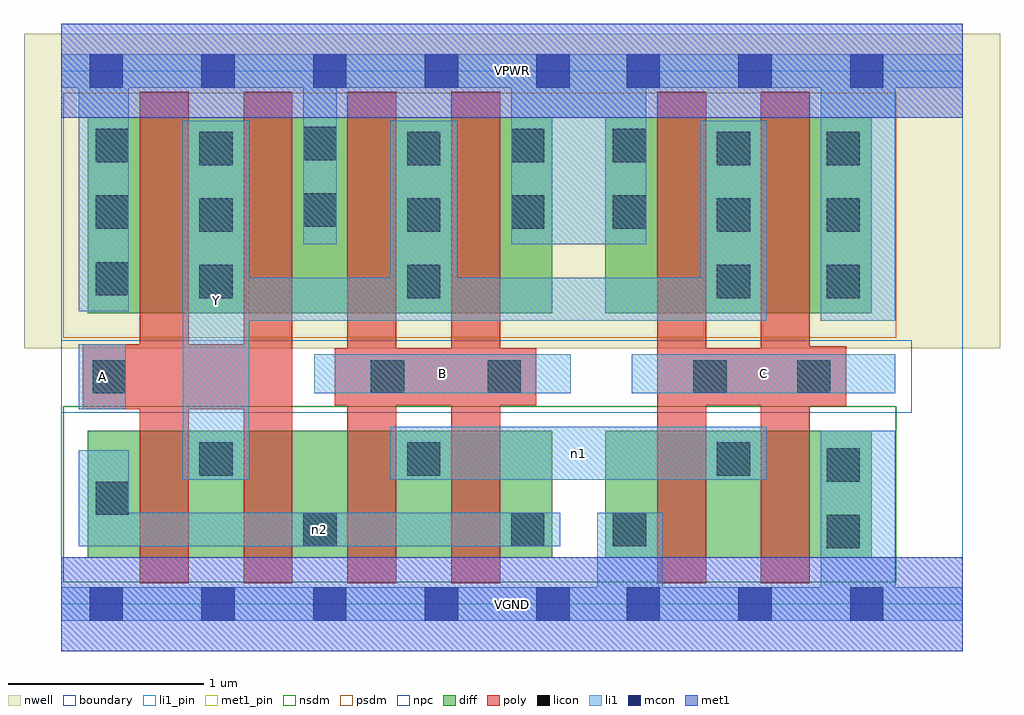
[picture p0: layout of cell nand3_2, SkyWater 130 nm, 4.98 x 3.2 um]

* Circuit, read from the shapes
.subckt nand3_2 A B C VGND VPWR Y n1 n2
XM1 Y A n2 VSUBS sky130_fd_pr__nfet_01v8 w=0.65 l=0.25 m=2
XM2 n1 B n2 VSUBS sky130_fd_pr__nfet_01v8 w=0.65 l=0.25 m=2
XM3 n1 C VGND VSUBS sky130_fd_pr__nfet_01v8 w=0.65 l=0.25 m=2
XM4 Y A VPWR n3 sky130_fd_pr__pfet_01v8 w=1 l=0.25 m=2
XM5 Y B VPWR n3 sky130_fd_pr__pfet_01v8 w=1 l=0.25 m=2
XM6 Y C VPWR n3 sky130_fd_pr__pfet_01v8 w=1 l=0.25 m=2
.ends

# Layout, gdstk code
import gdstk
lib = gdstk.Library(unit=1e-6, precision=1e-09)
def R(c, l, rs):  # rectangles x0, y0, x1, y1
    for r in rs: c.add(gdstk.rectangle(r[:2], r[2:], *l))
def A(c, l, x, y, w, h, nx, ny, dx, dy):  # array of equal rectangles
    R(c, l, [(x+i*dx, y+j*dy, x+i*dx+w, y+j*dy+h) for i in range(nx) for j in range(ny)])
nwell = (64, 20)
diff = (65, 20)
poly = (66, 20)
licon = (66, 44)
li1_pin = (67, 16)
li1 = (67, 20)
mcon = (67, 44)
met1_pin = (68, 16)
met1 = (68, 20)
nsdm = (93, 44)
psdm = (94, 20)
npc = (95, 20)
boundary = (235, 4)

nand3_2 = lib.new_cell('nand3_2')
R(nand3_2, nwell, [(-0.19,1.305,4.79,2.91), (0,1.305,4.6,2.91)])
R(nand3_2, diff, [(0.135,0.235,2.505,0.885), (2.775,0.235,4.135,0.885), (0.135,1.485,2.505,2.485), (2.775,1.485,4.135,2.485)])
A(nand3_2, poly, 0.4, 0.105, 0.25, 2.51, 4, 1, 0.53, 0)
R(nand3_2, poly, [(3.04,0.105,3.29,2.615), (3.57,0.105,3.82,2.615), (0.11,0.995,1.18,1.325), (3.57,1.01,4.005,1.315), (1.395,1.015,2.425,1.305), (3.04,1.015,4.005,1.305)])
A(nand3_2, licon, 0.705, 1.56, 0.17, 0.17, 1, 3, 0, 0.34)
A(nand3_2, licon, 1.765, 1.56, 0.17, 0.17, 1, 3, 0, 0.34)
A(nand3_2, licon, 3.345, 1.56, 0.17, 0.17, 1, 3, 0, 0.34)
A(nand3_2, licon, 3.905, 1.56, 0.17, 0.17, 1, 3, 0, 0.34)
A(nand3_2, licon, 0.175, 1.575, 0.17, 0.17, 1, 3, 0, 0.34)
R(nand3_2, licon, [(3.905,0.285,4.075,0.455), (1.235,0.295,1.405,0.465), (2.295,0.295,2.465,0.465), (2.815,0.295,2.985,0.465), (0.175,0.455,0.345,0.625), (3.905,0.625,4.075,0.795), (0.705,0.655,0.875,0.825), (1.765,0.655,1.935,0.825), (3.345,0.655,3.515,0.825), (0.16,1.075,0.33,1.245), (1.58,1.075,1.75,1.245), (2.175,1.075,2.345,1.245), (3.225,1.075,3.395,1.245), (3.755,1.075,3.925,1.245), (2.295,1.915,2.465,2.085), (2.815,1.915,2.985,2.085), (1.235,1.925,1.405,2.095), (2.295,2.255,2.465,2.425), (2.815,2.255,2.985,2.425), (1.235,2.265,1.405,2.435)])
R(nand3_2, li1_pin, [(0.62,0.635,0.96,2.465), (0.09,0.995,0.33,1.325), (1.29,1.075,2.6,1.275), (2.91,1.075,4.255,1.275)])
R(nand3_2, li1, [(0,-0.085,4.6,0.085), (2.735,-0.085,3.07,0.465), (3.875,-0.085,4.255,0.885), (0.09,0.295,2.545,0.465), (0.09,0.295,0.345,0.785), (0.62,0.635,0.96,2.465), (1.68,0.635,3.6,0.905), (0.09,0.995,0.33,1.325), (1.29,1.075,2.6,1.275), (2.91,1.075,4.255,1.275), (0.62,1.445,3.6,1.665), (1.68,1.445,2.02,2.465), (3.26,1.445,3.6,2.465), (3.875,1.445,4.255,2.805), (0.09,1.495,0.345,2.805), (1.235,1.835,1.405,2.805), (2.295,1.835,2.985,2.805), (0,2.635,4.6,2.805)])
A(nand3_2, mcon, 0.145, -0.085, 0.17, 0.17, 5, 2, 0.57, 2.72)
A(nand3_2, mcon, 2.885, -0.085, 0.17, 0.17, 3, 2, 0.57, 2.72)
R(nand3_2, met1_pin, [(0,-0.24,4.6,0.24), (0,2.48,4.6,2.96)])
R(nand3_2, met1, [(0,-0.24,4.6,0.24), (0,2.48,4.6,2.96)])
R(nand3_2, nsdm, [(0.01,0.11,4.26,1.01)])
R(nand3_2, psdm, [(0.01,1.36,4.26,2.61)])
R(nand3_2, npc, [(0,0.975,4.34,1.345)])
R(nand3_2, boundary, [(0,0,4.6,2.72)])
nand3_2.add(gdstk.Label('A', (0.21,1.16), layer=67, texttype=5))
nand3_2.add(gdstk.Label('B', (1.945,1.175), layer=67, texttype=5))
nand3_2.add(gdstk.Label('C', (3.582,1.175), layer=67, texttype=5))
nand3_2.add(gdstk.Label('Y', (0.79,1.55), layer=67, texttype=5))
nand3_2.add(gdstk.Label('n2', (1.317,0.38), layer=67, texttype=5))
nand3_2.add(gdstk.Label('n1', (2.64,0.77), layer=67, texttype=5))
nand3_2.add(gdstk.Label('VPWR', (2.3,2.72), layer=68, texttype=5))
nand3_2.add(gdstk.Label('VGND', (2.3,0), layer=68, texttype=5))
nand3_2.add(gdstk.Label('A', (0.21,1.16), layer=67, texttype=16))
nand3_2.add(gdstk.Label('B', (1.945,1.175), layer=67, texttype=16))
nand3_2.add(gdstk.Label('C', (3.582,1.175), layer=67, texttype=16))
nand3_2.add(gdstk.Label('Y', (0.79,1.55), layer=67, texttype=16))
nand3_2.add(gdstk.Label('VPWR', (2.3,2.72), layer=68, texttype=16))
nand3_2.add(gdstk.Label('VGND', (2.3,0), layer=68, texttype=16))

lib.write_gds('nand3_2.gds')
